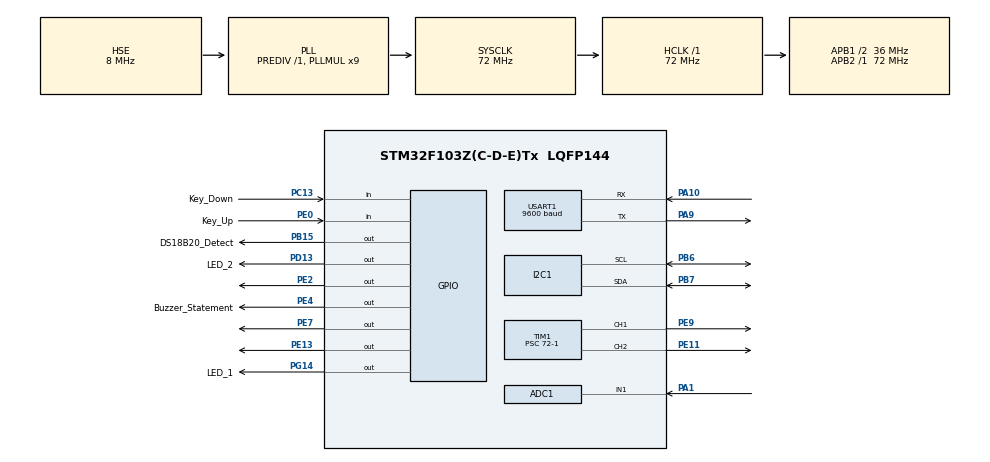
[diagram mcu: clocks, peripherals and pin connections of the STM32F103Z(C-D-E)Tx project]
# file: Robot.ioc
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ADC1.Channel-1\#ChannelRegularConversion=ADC_CHANNEL_1
ADC1.EnableAnalogWatchDog=false
ADC1.NbrOfConversionFlag=1
ADC1.Rank-1\#ChannelRegularConversion=1
ADC1.SamplingTime-1\#ChannelRegularConversion=ADC_SAMPLETIME_1CYCLE_5
ADC1.master=1
Mcu.Family=STM32F1
Mcu.Name=STM32F103Z(C-D-E)Tx
Mcu.Package=LQFP144
NVIC.PriorityGroup=NVIC_PRIORITYGROUP_4
NVIC.TIM6_IRQn=true\:0\:0\:false\:false\:true\:true\:true
NVIC.USART1_IRQn=true\:0\:0\:true\:false\:true\:true\:true
OSC_IN.Mode=HSE-External-Oscillator
OSC_IN.Signal=RCC_OSC_IN
OSC_OUT.Mode=HSE-External-Oscillator
OSC_OUT.Signal=RCC_OSC_OUT
PA1.Signal=ADCx_IN1
PA10.Mode=Asynchronous
PA10.Signal=USART1_RX
PA13.Mode=Serial_Wire
PA13.Signal=SYS_JTMS-SWDIO
PA14.Mode=Serial_Wire
PA14.Signal=SYS_JTCK-SWCLK
PA9.Mode=Asynchronous
PA9.Signal=USART1_TX
PB15.GPIO_Label=DS18B20_Detect
PB15.GPIO_PuPd=GPIO_PULLUP
PB15.GPIO_Speed=GPIO_SPEED_FREQ_HIGH
PB15.Signal=GPIO_Output
PB6.Mode=I2C
PB6.Signal=I2C1_SCL
PB7.Mode=I2C
PB7.Signal=I2C1_SDA
PC13-TAMPER-RTC.GPIO_Label=Key_Down
PC13-TAMPER-RTC.Signal=GPIO_Input
PC14-OSC32_IN.Mode=LSE-External-Oscillator
PC14-OSC32_IN.Signal=RCC_OSC32_IN
PC15-OSC32_OUT.Mode=LSE-External-Oscillator
PC15-OSC32_OUT.Signal=RCC_OSC32_OUT
PD13.GPIO_Label=LED_2
PD13.GPIO_PuPd=GPIO_PULLDOWN
PD13.GPIO_Speed=GPIO_SPEED_FREQ_HIGH
PD13.Signal=GPIO_Output
PE0.GPIO_Label=Key_Up
PE0.Signal=GPIO_Input
PE11.Signal=S_TIM1_CH2
PE13.GPIO_PuPd=GPIO_PULLDOWN
PE13.GPIO_Speed=GPIO_SPEED_FREQ_LOW
PE13.Signal=GPIO_Output
PE2.GPIO_PuPd=GPIO_PULLDOWN
PE2.Signal=GPIO_Output
PE4.GPIO_Label=Buzzer_Statement
PE4.GPIO_PuPd=GPIO_PULLUP
PE4.GPIO_Speed=GPIO_SPEED_FREQ_HIGH
PE4.PinState=GPIO_PIN_SET
PE4.Signal=GPIO_Output
PE7.GPIO_PuPd=GPIO_PULLDOWN
PE7.Signal=GPIO_Output
PE9.Signal=S_TIM1_CH1
PG14.GPIO_Label=LED_1
PG14.GPIO_PuPd=GPIO_PULLDOWN
PG14.GPIO_Speed=GPIO_SPEED_FREQ_HIGH
PG14.PinState=GPIO_PIN_RESET
PG14.Signal=GPIO_Output
ProjectManager.HeapSize=0x200
ProjectManager.StackSize=0x400
ProjectManager.TargetToolchain=MDK-ARM V5
RCC.ADCPresc=RCC_ADCPCLK2_DIV6
RCC.AHBFreq_Value=72000000
RCC.APB1CLKDivider=RCC_HCLK_DIV2
RCC.APB1Freq_Value=36000000
RCC.APB1TimFreq_Value=72000000
RCC.APB2Freq_Value=72000000
RCC.APB2TimFreq_Value=72000000
RCC.HCLKFreq_Value=72000000
RCC.PLLMUL=RCC_PLL_MUL9
RCC.PLLSourceVirtual=RCC_PLLSOURCE_HSE
RCC.SYSCLKFreq_VALUE=72000000
RCC.SYSCLKSource=RCC_SYSCLKSOURCE_PLLCLK
RCC.USBFreq_Value=72000000
SH.ADCx_IN1.0=ADC1_IN1,IN1
SH.S_TIM1_CH1.0=TIM1_CH1,PWM Generation1 CH1
SH.S_TIM1_CH2.0=TIM1_CH2,PWM Generation2 CH2
TIM1.Channel-PWM\ Generation1\ CH1=TIM_CHANNEL_1
TIM1.Channel-PWM\ Generation2\ CH2=TIM_CHANNEL_2
TIM1.Period=20000-1
TIM1.Prescaler=72-1
TIM1.Pulse-PWM\ Generation1\ CH1=10000
TIM1.Pulse-PWM\ Generation2\ CH2=10000
TIM6.Prescaler=72-1
USART1.BaudRate=9600
USART1.VirtualMode=VM_ASYNC
VP_TIM6_VS_ClockSourceINT.Mode=Enable_Timer
board=custom

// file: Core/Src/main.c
/* USER CODE BEGIN Header */
/**
  ******************************************************************************
  * @file           : main.c
  * @brief          : Main program body
  ******************************************************************************
  * @attention
  *
  * <h2><center>&copy; Copyright (c) 2021 STMicroelectronics.
  * All rights reserved.</center></h2>
  *
  * This software component is licensed by ST under BSD 3-Clause license,
  * the "License"; You may not use this file except in compliance with the
  * License. You may obtain a copy of the License at:
  *                        opensource.org/licenses/BSD-3-Clause
  *
  ******************************************************************************
  */
/* USER CODE END Header */
#include "main.h"
#include "adc.h"
#include "i2c.h"
#include "tim.h"
#include "usart.h"
#include "gpio.h"

/* USER CODE BEGIN Includes */
#include "stdio.h"
#include "oled.h"
#include "ds18b20.h"
#include "warning.h"
#include "display.h"
#include "waterlevel.h"
#include "templevel.h"
#include "gp2y0a21.h"
/* USER CODE END Includes */

void SystemClock_Config(void);

int main(void)
{

  /* MCU Configuration--------------------------------------------------------*/

  /* Reset of all peripherals, Initializes the Flash interface and the Systick. */
  HAL_Init();

  /* USER CODE BEGIN Init */
	int i = 0;
	int value;
	float TempInit_Value = 30;
	float Temp_Value;
	float TempInit_Value_Low = 0;
	float TempInit_Value_High = 65;
	float WaterlevelInit_Value_Low = 20;
	float WaterlevelInit_Value_High = 40;
	float Waterlevel_Value;
	float Vol_value;
  /* USER CODE END Init */

  /* Configure the system clock */
  SystemClock_Config();

  /* Initialize all configured peripherals */
  MX_GPIO_Init();
  MX_I2C1_Init();
  MX_TIM1_Init();
  MX_TIM6_Init();
  MX_USART1_UART_Init();
  MX_ADC1_Init();
  /* USER CODE BEGIN 2 */
	Display_Init(TempInit_Value);
	DS18B20_Test();
  /* USER CODE END 2 */

  /* Infinite loop */
  /* USER CODE BEGIN WHILE */
  while (1)
  {
		i += 1;

		uint8_t Chr_cmd = HAL_UART_ReceiveData(USART1);//接收APP发送的指令

		HAL_ADC_Start(&hadc1);
		HAL_ADC_PollForConversion(&hadc1,10);
		value = HAL_ADC_GetValue(&hadc1);
		Vol_value = value*(3.3/4096);

		if(i%2 == 0)
		{
			Temp_Value = DS18B20_GetTemperture();
			OLED_ShowNum(80,2,Temp_Value,2,16);//显示实时温度
			OLED_ShowChar(96,2,'C',16);//显示摄氏温度符号‘C’
			printf("==================\r\n");
			printf("实时温度：%.1f C\r\n",Temp_Value);
		}

		if(i%2 == 0)
		{
			Waterlevel_Value =50 - GP2Y0A21_GetDistance(Vol_value);
			printf("实时水位：%.1f cm\r\n",Waterlevel_Value);
			printf("==================\r\n");
		}

		if(HAL_GPIO_ReadPin(Key_Up_GPIO_Port,Key_Up_Pin)==GPIO_PIN_RESET)//若按键KEY1按下
		{
			HAL_Delay(200);//延时200ms消抖
			TempInit_Value += 1;//预设温度上调2度
			OLED_ShowNum(80,4,TempInit_Value,2,16);
		}
		else if(HAL_GPIO_ReadPin(Key_Down_GPIO_Port,Key_Down_Pin)==GPIO_PIN_RESET)//若按键KEY2按下
		{
			HAL_Delay(200);//延时200ms消抖
			TempInit_Value -= 1;//预设温度下调2度
			OLED_ShowNum(80,4,TempInit_Value,2,16);
		}

		switch(Chr_cmd)
		{
			case '1':
				TempInit_Value += 1;
				OLED_ShowNum(80,4,TempInit_Value,2,16);
			break;

			case '2':
				TempInit_Value -= 1;
				OLED_ShowNum(80,4,TempInit_Value,2,16);
			break;

			case '3':
				HAL_TIM_PWM_Start(&htim1,TIM_CHANNEL_2);
			break;

			case '4':
				HAL_TIM_PWM_Stop(&htim1,TIM_CHANNEL_2);
			break;

			case '5':
				Add_Hot_Timing(Chr_cmd);
			break;

			default:
				TempInit_Value += 0;
				OLED_ShowNum(80,4,TempInit_Value,2,16);
			break;
		}

		Add_Hot(TempInit_Value,Temp_Value);
		Temprature_Warning(TempInit_Value_Low,TempInit_Value_High,Temp_Value);

		Water_Level(WaterlevelInit_Value_Low,WaterlevelInit_Value_High,Waterlevel_Value);
		Waterlevel_Warning(WaterlevelInit_Value_Low,WaterlevelInit_Value_High,Waterlevel_Value);

		Chr_cmd = '0';
    /* USER CODE END WHILE */

  }
}

void SystemClock_Config(void)
{
  RCC_OscInitTypeDef RCC_OscInitStruct = {0};
  RCC_ClkInitTypeDef RCC_ClkInitStruct = {0};
  RCC_PeriphCLKInitTypeDef PeriphClkInit = {0};

  /** Initializes the RCC Oscillators according to the specified parameters
  * in the RCC_OscInitTypeDef structure.
  */
  RCC_OscInitStruct.OscillatorType = RCC_OSCILLATORTYPE_HSE;
  RCC_OscInitStruct.HSEState = RCC_HSE_ON;
  RCC_OscInitStruct.HSEPredivValue = RCC_HSE_PREDIV_DIV1;
  RCC_OscInitStruct.HSIState = RCC_HSI_ON;
  RCC_OscInitStruct.PLL.PLLState = RCC_PLL_ON;
  RCC_OscInitStruct.PLL.PLLSource = RCC_PLLSOURCE_HSE;
  RCC_OscInitStruct.PLL.PLLMUL = RCC_PLL_MUL9;
  if (HAL_RCC_OscConfig(&RCC_OscInitStruct) != HAL_OK)
  {
    Error_Handler();
  }
  /** Initializes the CPU, AHB and APB buses clocks
  */
  RCC_ClkInitStruct.ClockType = RCC_CLOCKTYPE_HCLK|RCC_CLOCKTYPE_SYSCLK
                              |RCC_CLOCKTYPE_PCLK1|RCC_CLOCKTYPE_PCLK2;
  RCC_ClkInitStruct.SYSCLKSource = RCC_SYSCLKSOURCE_PLLCLK;
  RCC_ClkInitStruct.AHBCLKDivider = RCC_SYSCLK_DIV1;
  RCC_ClkInitStruct.APB1CLKDivider = RCC_HCLK_DIV2;
  RCC_ClkInitStruct.APB2CLKDivider = RCC_HCLK_DIV1;

  if (HAL_RCC_ClockConfig(&RCC_ClkInitStruct, FLASH_LATENCY_2) != HAL_OK)
  {
    Error_Handler();
  }
  PeriphClkInit.PeriphClockSelection = RCC_PERIPHCLK_ADC;
  PeriphClkInit.AdcClockSelection = RCC_ADCPCLK2_DIV6;
  if (HAL_RCCEx_PeriphCLKConfig(&PeriphClkInit) != HAL_OK)
  {
    Error_Handler();
  }
}

void Error_Handler(void)
{
  __disable_irq();
  while (1)
  {
  }
}

/************************ (C) COPYRIGHT STMicroelectronics *****END OF FILE****/
